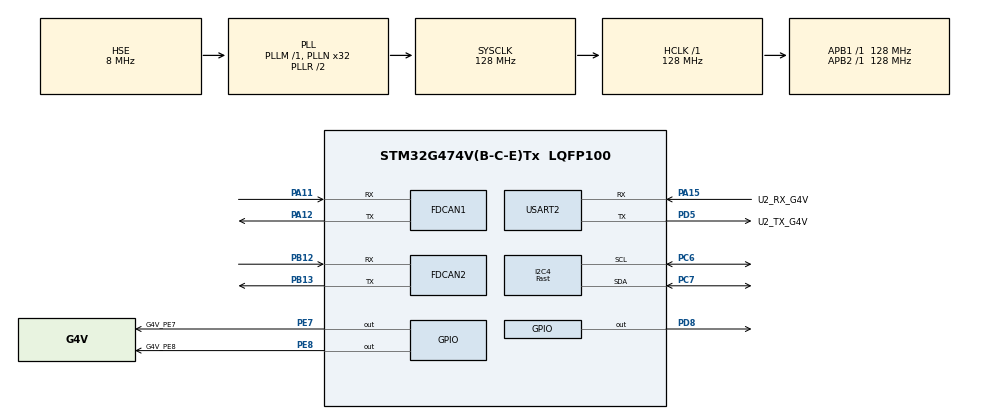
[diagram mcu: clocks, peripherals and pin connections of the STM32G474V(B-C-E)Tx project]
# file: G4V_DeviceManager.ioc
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FDCAN1.AutoRetransmission=ENABLE
FDCAN1.CalculateBaudRateNominal=1000000
FDCAN1.CalculateTimeBitNominal=1000
FDCAN1.CalculateTimeQuantumNominal=62.5
FDCAN1.DataPrescaler=4
FDCAN1.DataSyncJumpWidth=10
FDCAN1.DataTimeSeg1=10
FDCAN1.DataTimeSeg2=5
FDCAN1.ExtFiltersNbr=8
FDCAN1.FrameFormat=FDCAN_FRAME_FD_NO_BRS
FDCAN1.Mode=FDCAN_MODE_NORMAL
FDCAN1.NominalPrescaler=8
FDCAN1.NominalSyncJumpWidth=10
FDCAN1.NominalTimeSeg1=10
FDCAN1.NominalTimeSeg2=5
FDCAN1.StdFiltersNbr=16
FDCAN2.AutoRetransmission=ENABLE
FDCAN2.CalculateBaudRateNominal=1066666
FDCAN2.CalculateTimeBitNominal=937
FDCAN2.CalculateTimeQuantumNominal=78.125
FDCAN2.DataPrescaler=10
FDCAN2.DataSyncJumpWidth=10
FDCAN2.DataTimeSeg1=8
FDCAN2.DataTimeSeg2=3
FDCAN2.NominalPrescaler=10
FDCAN2.NominalSyncJumpWidth=10
FDCAN2.NominalTimeSeg1=8
FDCAN2.NominalTimeSeg2=3
FDCAN2.StdFiltersNbr=16
I2C4.CustomTiming=Enabled
I2C4.I2C_Speed_Mode=I2C_Fast
I2C4.Timing=0x20A0C4DF
Mcu.Family=STM32G4
Mcu.Name=STM32G474V(B-C-E)Tx
Mcu.Package=LQFP100
NVIC.FDCAN1_IT0_IRQn=true\:0\:0\:false\:false\:true\:true\:true\:true
NVIC.PriorityGroup=NVIC_PRIORITYGROUP_4
NVIC.USART2_IRQn=true\:0\:0\:false\:false\:true\:true\:true\:true
PA11.Mode=FDCAN_Activate
PA11.Signal=FDCAN1_RX
PA12.Mode=FDCAN_Activate
PA12.Signal=FDCAN1_TX
PA13.Mode=Serial_Wire
PA13.Signal=SYS_JTMS-SWDIO
PA14.Mode=Serial_Wire
PA14.Signal=SYS_JTCK-SWCLK
PA15.GPIO_Label=U2_RX_G4V
PA15.GPIO_Speed=GPIO_SPEED_FREQ_HIGH
PA15.Mode=Asynchronous
PA15.Signal=USART2_RX
PB12.Mode=FDCAN_Activate
PB12.Signal=FDCAN2_RX
PB13.Mode=FDCAN_Activate
PB13.Signal=FDCAN2_TX
PC6.Mode=I2C
PC6.Signal=I2C4_SCL
PC7.Mode=I2C
PC7.Signal=I2C4_SDA
PD5.GPIO_Label=U2_TX_G4V
PD5.GPIO_Speed=GPIO_SPEED_FREQ_HIGH
PD5.Mode=Asynchronous
PD5.Signal=USART2_TX
PD8.GPIO_Speed=GPIO_SPEED_FREQ_HIGH
PD8.PinState=GPIO_PIN_SET
PD8.Signal=GPIO_Output
PE7.GPIO_Label=G4V_PE7
PE7.GPIO_Speed=GPIO_SPEED_FREQ_HIGH
PE7.PinState=GPIO_PIN_SET
PE7.Signal=GPIO_Output
PE8.GPIO_Label=G4V_PE8
PE8.GPIO_Speed=GPIO_SPEED_FREQ_HIGH
PE8.PinState=GPIO_PIN_SET
PE8.Signal=GPIO_Output
PF0-OSC_IN.Mode=HSE-External-Oscillator
PF0-OSC_IN.Signal=RCC_OSC_IN
PF1-OSC_OUT.Mode=HSE-External-Oscillator
PF1-OSC_OUT.Signal=RCC_OSC_OUT
ProjectManager.HeapSize=0x200
ProjectManager.StackSize=0x400
ProjectManager.TargetToolchain=MDK-ARM V5.32
RCC.ADC12Freq_Value=128000000
RCC.ADC345Freq_Value=128000000
RCC.AHBFreq_Value=128000000
RCC.APB1Freq_Value=128000000
RCC.APB1TimFreq_Value=128000000
RCC.APB2Freq_Value=128000000
RCC.APB2TimFreq_Value=128000000
RCC.CortexFreq_Value=128000000
RCC.EXTERNAL_CLOCK_VALUE=12288000
RCC.HCLKFreq_Value=128000000
RCC.HSE_VALUE=8000000
RCC.HSI48_VALUE=48000000
RCC.HSI_VALUE=16000000
RCC.LSE_VALUE=32768
RCC.PLLN=32
RCC.PLLSourceVirtual=RCC_PLLSOURCE_HSE
RCC.SYSCLKFreq_VALUE=128000000
RCC.SYSCLKSource=RCC_SYSCLKSOURCE_PLLCLK
RCC.USBFreq_Value=128000000
RCC.VCOOutputFreq_Value=256000000
USART2.VirtualMode-Asynchronous=VM_ASYNC
VP_SYS_VS_DBSignals.Mode=DisableDeadBatterySignals
board=custom

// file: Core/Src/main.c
/* USER CODE BEGIN Header */
/**
  ******************************************************************************
  * @file           : main.c
  * @brief          : Main program body
  ******************************************************************************
  * @attention
  *
  * Copyright (c) 2025 STMicroelectronics.
  * All rights reserved.
  *
  * This software is licensed under terms that can be found in the LICENSE file
  * in the root directory of this software component.
  * If no LICENSE file comes with this software, it is provided AS-IS.
  *
  ******************************************************************************
  */
/* USER CODE END Header */
#include "main.h"
#include "fdcan.h"
#include "i2c.h"
#include "usart.h"
#include "gpio.h"

/* USER CODE BEGIN Includes */
#include <stdio.h>
#include <string.h>

#include "can_process.h"
#include "ms5837.h"
/* USER CODE END Includes */

/* USER CODE BEGIN PV */
float measureddepth = 0;
float realdepth     = 0;
float startdepth    = 0;
float checkeddepth  = 0;
float temperature;
uint8_t can_tx_data[8];
/* USER CODE END PV */

void SystemClock_Config(void);

int main(void)
{

  /* MCU Configuration--------------------------------------------------------*/

  /* Reset of all peripherals, Initializes the Flash interface and the Systick. */
  HAL_Init();

  /* Configure the system clock */
  SystemClock_Config();

  /* Initialize all configured peripherals */
  MX_GPIO_Init();
  MX_FDCAN1_Init();
  MX_USART2_UART_Init();
  MX_FDCAN2_Init();
  MX_I2C4_Init();
  /* USER CODE BEGIN 2 */
  FDCAN1_Config();

  Ms5837Init(&hi2c4);
  Ms5837Depth(&startdepth);
  checkeddepth = startdepth;
  /* USER CODE END 2 */

  /* Infinite loop */
  while (1)
  {

    /* USER CODE BEGIN 3 */
    Ms5837Read(&hi2c4);
    Ms5837Temperature(&temperature);
    Ms5837Depth(&measureddepth);
    realdepth = measureddepth - startdepth;  // 计算相对深度

    /* 数据打包和发送 */
    PackSensorData(temperature, realdepth, can_tx_data);

    Canfd1Transmit64(0x101, can_tx_data);

    HAL_Delay(20);  // 发送间隔50ms（可根据需要调整）
    }
  /* USER CODE END 3 */
}

void SystemClock_Config(void)
{
  RCC_OscInitTypeDef RCC_OscInitStruct = {0};
  RCC_ClkInitTypeDef RCC_ClkInitStruct = {0};

  /** Configure the main internal regulator output voltage
  */
  HAL_PWREx_ControlVoltageScaling(PWR_REGULATOR_VOLTAGE_SCALE1);

  /** Initializes the RCC Oscillators according to the specified parameters
  * in the RCC_OscInitTypeDef structure.
  */
  RCC_OscInitStruct.OscillatorType = RCC_OSCILLATORTYPE_HSE;
  RCC_OscInitStruct.HSEState = RCC_HSE_ON;
  RCC_OscInitStruct.PLL.PLLState = RCC_PLL_ON;
  RCC_OscInitStruct.PLL.PLLSource = RCC_PLLSOURCE_HSE;
  RCC_OscInitStruct.PLL.PLLM = RCC_PLLM_DIV1;
  RCC_OscInitStruct.PLL.PLLN = 32;
  RCC_OscInitStruct.PLL.PLLP = RCC_PLLP_DIV2;
  RCC_OscInitStruct.PLL.PLLQ = RCC_PLLQ_DIV2;
  RCC_OscInitStruct.PLL.PLLR = RCC_PLLR_DIV2;
  if (HAL_RCC_OscConfig(&RCC_OscInitStruct) != HAL_OK)
  {
    Error_Handler();
  }

  /** Initializes the CPU, AHB and APB buses clocks
  */
  RCC_ClkInitStruct.ClockType = RCC_CLOCKTYPE_HCLK|RCC_CLOCKTYPE_SYSCLK
                              |RCC_CLOCKTYPE_PCLK1|RCC_CLOCKTYPE_PCLK2;
  RCC_ClkInitStruct.SYSCLKSource = RCC_SYSCLKSOURCE_PLLCLK;
  RCC_ClkInitStruct.AHBCLKDivider = RCC_SYSCLK_DIV1;
  RCC_ClkInitStruct.APB1CLKDivider = RCC_HCLK_DIV1;
  RCC_ClkInitStruct.APB2CLKDivider = RCC_HCLK_DIV1;

  if (HAL_RCC_ClockConfig(&RCC_ClkInitStruct, FLASH_LATENCY_4) != HAL_OK)
  {
    Error_Handler();
  }
}

void Error_Handler(void)
{
  __disable_irq();
  while (1)
  {
  }
}
